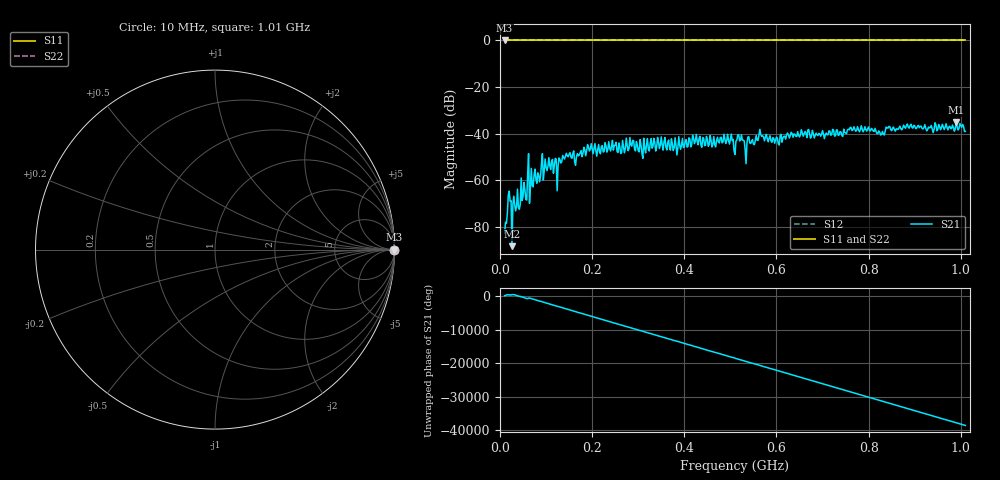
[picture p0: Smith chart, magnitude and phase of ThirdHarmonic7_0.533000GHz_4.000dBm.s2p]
! 8/17/2025 3:54:36 PM
! C:\ANRITSUVNA\TEMP\TEMP.S2P
! CHANNEL.1
! TR.MEASUREMENT
! RAW.DATA
! RF.CORRECTION.OFF
! AVERAGING.OFF
! IF.BANDWIDTH: 5KHZ
! SWEEPTYPE:  FREQ.SWEEP(Linear)
! Reference Plane Port Info
! PORT:  PORT1  PORT2
! DISTANCE:  0  m  0  m
! TIME:  0  s  0  s
! PHASE.OFFSET:  0  deg.  0  deg.
! LOSS:  0  dB  0  dB
! REF.LOSS:  0  dB  0  dB
! REF.FREQ:  0  Hz  0  Hz
! Power Info
! POWER:  -20  dBm  -20  dBm
! EFF.POWER:  -20  dBm  -20  dBm
! SOURCE.ATTEN:  0  dB  0  dB
! TEST.ATTEN:  0  dB  0  dB
# GHZ S RI R 50.0
! FREQ.GHZ  S11RE  S11IM  S21RE  S21IM  S12RE  S12IM  S22RE  S22IM
!; PortSelection: Port_12
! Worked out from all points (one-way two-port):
!   501 points, 10 MHz to 1.01 GHz, reference 50 ohm
!   highest |S21| = -35.10 dB at 990 MHz (marker M1); lowest = -88.3 dB at 26 MHz (marker M2)
!   lowest |S11| = 0.0 dB at 10 MHz (marker M3)
!   |S11| at or under -10 dB: nowhere
!   |S22| runs from 0.0 to 0.0 dB; largest |S21 - S12| = 1
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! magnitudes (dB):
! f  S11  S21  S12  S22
! 10 MHz  0.0  -82.8  0.0  0.0
! 20 MHz  0.0  -64.7  0.0  0.0
! 26 MHz  0.0  -88.3  0.0  0.0
! 54 MHz  0.0  -64.1  0.0  0.0
! 64 MHz  0.0  -69.9  0.0  0.0
! 68 MHz  0.0  -54.9  0.0  0.0
! 72 MHz  0.0  -62.9  0.0  0.0
! 84 MHz  0.0  -57.8  0.0  0.0
! 94 MHz  0.0  -59.9  0.0  0.0
! 120 MHz  0.0  -50.6  0.0  0.0
! 140 MHz  0.0  -50.9  0.0  0.0
! 178 MHz  0.0  -49.9  0.0  0.0
! 344 MHz  0.0  -43.6  0.0  0.0
! 498 MHz  0.0  -44.5  0.0  0.0
! 510 MHz  0.0  -48.9  0.0  0.0
! 520 MHz  0.0  -43.1  0.0  0.0
! 532 MHz  0.0  -46.9  0.0  0.0
! 566 MHz  0.0  -40.5  0.0  0.0
! 678 MHz  0.0  -38.6  0.0  0.0
! 844 MHz  0.0  -36.9  0.0  0.0
! 990 MHz  0.0  -35.1  0.0  0.0
! 1.01 GHz  0.0  -39.0  0.0  0.0
